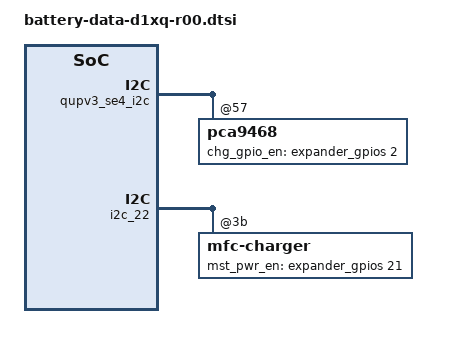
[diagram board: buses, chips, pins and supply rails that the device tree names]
/* Copyright (c) 2014, The Linux Foundation. All rights reserved.
 *
 * This program is free software; you can redistribute it and/or modify
 * it under the terms of the GNU General Public License version 2 and
 * only version 2 as published by the Free Software Foundation.
 *
 * This program is distributed in the hope that it will be useful,
 * but WITHOUT ANY WARRANTY; without even the implied warranty of
 * MERCHANTABILITY or FITNESS FOR A PARTICULAR PURPOSE.  See the
 * GNU General Public License for more details.
 */

#include "battery-data-d1xq-common.dtsi"

&qupv3_se4_i2c {
	pca9468@57 {
		pca9468,chg_gpio_en = <&expander_gpios 2 0>; /* DC_CPEN */
	};
};

&i2c_22 {
	mfc-charger@3b {
		battery,mst_pwr_en = <&expander_gpios 21 0>; /* MST_PWR_EN */
	};
};

&soc {
	battery {
		battery,wpc_en = <&expander_gpios 3 0>; /* WPC_EN */
	};
};
